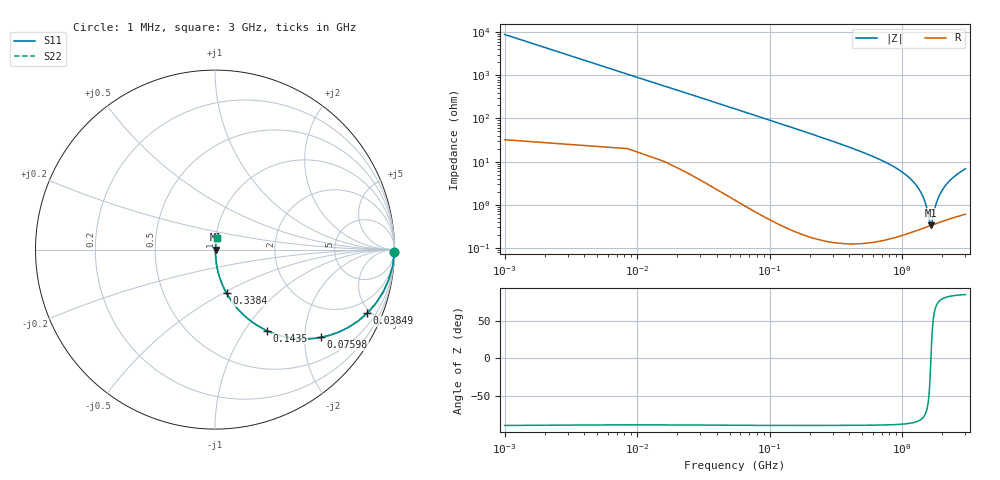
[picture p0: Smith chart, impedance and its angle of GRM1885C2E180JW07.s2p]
!Murata Part Number: GRM1885C2E180JW07
!These Parameters are Measured in Series Mode Connection
!Data Generated on Mar 30, 2021
!  o--ll--o
!Port1  Port2
!  o------o
!Operation Temp=25[degC], DC Bias Voltage=0[V]
!Freq. Start=1000[kHz] Stop=3[GHz] 401[Steps]
# Hz S RI R 50
!Freq.(Hz) S11(Real) S11(Imag) S21(Real) S21(Imag) S12(Real) S12(Imag) S22(Real) S22(Imag)
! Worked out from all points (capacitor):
!   401 points, 1 MHz to 3 GHz, reference 50 ohm
!   read as one part in series: C = 17.4 pF near 15.99 MHz
!   lowest |Z| = 333 mohm at 1.643 GHz (marker M1)
!   series resonance near 1.648 GHz, so ESL is about 530 pH
!   S11 on the Smith chart (normalised r, x): 1 MHz: open; 38.49 MHz: 1.05, -4.76; 75.97 MHz: 1.01, -2.41; 143.5 MHz: 1.01, -1.27; 338.4 MHz: 1.00, -0.52; 3 GHz: 1.01, +0.14
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1000000  0.9998 -0.0113  0.000169 0.0113  0.000169 0.0113  0.9998 -0.0113
2.34925e7  0.9348 -0.2397  0.0652 0.2397  0.0652 0.2397  0.9348 -0.2397
3.84875e7  0.8474 -0.3545  0.1526 0.3545  0.1526 0.3545  0.8474 -0.3545
5.34825e7  0.7444 -0.4323  0.2556 0.4323  0.2556 0.4323  0.7444 -0.4323
7.5975e7  0.592 -0.4885  0.408 0.4885  0.408 0.4885  0.592 -0.4885
1.434525e8  0.2885 -0.451  0.7115 0.451  0.7115 0.451  0.2885 -0.451
2.184275e8  0.1468 -0.3519  0.8532 0.3519  0.8532 0.3519  0.1468 -0.3519
3.383875e8  0.0643 -0.2428  0.9357 0.2428  0.9357 0.2428  0.0643 -0.2428
5.033325e8  0.0277 -0.1604  0.9723 0.1604  0.9723 0.1604  0.0277 -0.1604
1.005665e9  0.00516 -0.0565  0.9948 0.0565  0.9948 0.0565  0.00516 -0.0565
1.313062e9  0.00321 -0.0251  0.9968 0.0251  0.9968 0.0251  0.00321 -0.0251
1.418028e9  0.00307 -0.0165  0.9969 0.0165  0.9969 0.0165  0.00307 -0.0165
1.5005e9  0.00309 -0.0102  0.9969 0.0102  0.9969 0.0102  0.00309 -0.0102
1.62046e9  0.00325 -0.00185  0.9967 0.00185  0.9967 0.00185  0.00325 -0.00185
1.642952e9  0.0033 -0.00035  0.9967 0.00035  0.9967 0.00035  0.0033 -0.00035
1.672942e9  0.00337 0.00161  0.9966 -0.00161  0.9966 -0.00161  0.00337 0.00161
1.747918e9  0.00357 0.00637  0.9964 -0.00637  0.9964 -0.00637  0.00357 0.00637
1.815395e9  0.00379 0.0105  0.9962 -0.0105  0.9962 -0.0105  0.00379 0.0105
2.002832e9  0.00454 0.0211  0.9955 -0.0211  0.9955 -0.0211  0.00454 0.0211
2.22026e9  0.00561 0.0324  0.9944 -0.0324  0.9944 -0.0324  0.00561 0.0324
2.505165e9  0.00724 0.0459  0.9928 -0.0459  0.9928 -0.0459  0.00724 0.0459
3e9  0.0105 0.0668  0.9895 -0.0668  0.9895 -0.0668  0.0105 0.0668
